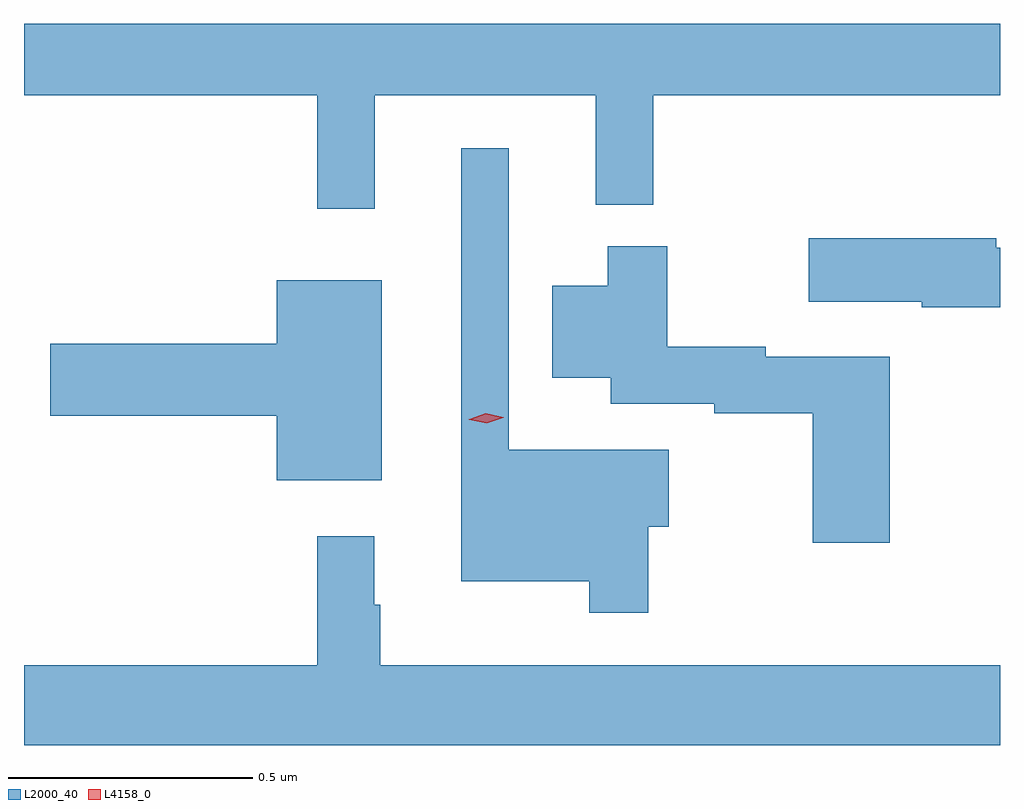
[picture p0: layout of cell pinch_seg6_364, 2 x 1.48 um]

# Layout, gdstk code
import gdstk
lib = gdstk.Library(unit=1e-6, precision=1e-09)
def P(c, l, *ps):  # polygons
    for p in ps: c.add(gdstk.Polygon(p, *l))
L2000_40 = (2000, 40)
L4158_0 = (4158, 0)

pinch_seg6_364 = lib.new_cell('pinch_seg6_364')
P(pinch_seg6_364, L2000_40, [(653.46,955.328),(654.061,955.328),(654.061,955.095),(654.179,955.095),(654.179,955.328),(654.632,955.328),(654.632,955.103),(654.749,955.103),(654.749,955.328),(655.46,955.328),(655.46,955.474),(653.46,955.474)],
  [(654.739,954.443),(654.781,954.443),(654.781,954.601),(654.453,954.601),(654.453,955.219),(654.356,955.219),(654.356,954.332),(654.618,954.332),(654.618,954.267),(654.739,954.267)],
  [(655.46,955.015),(655.452,955.015),(655.452,955.035),(655.068,955.035),(655.068,954.905),(655.3,954.905),(655.3,954.893),(655.46,954.893)],
  [(655.234,954.792),(654.98,954.792),(654.98,954.812),(654.778,954.812),(654.778,955.018),(654.656,955.018),(654.656,954.937),(654.542,954.937),(654.542,954.749),(654.662,954.749),(654.662,954.696),(654.874,954.696),(654.874,954.676),(655.076,954.676),(655.076,954.411),(655.234,954.411)],
  [(654.193,954.949),(653.978,954.949),(653.978,954.818),(653.514,954.818),(653.514,954.671),(653.978,954.671),(653.978,954.539),(654.193,954.539)],
  [(655.46,954.16),(654.19,954.16),(654.19,954.284),(654.178,954.284),(654.178,954.424),(654.061,954.424),(654.061,954.16),(653.46,954.16),(653.46,953.996),(655.46,953.996)])
P(pinch_seg6_364, L4158_0, [(654.408,954.656),(654.372,954.663),(654.371,954.664),(654.372,954.664),(654.406,954.676),(654.442,954.668),(654.443,954.668),(654.442,954.667)])

lib.write_gds('pinch_seg6_364.gds')
